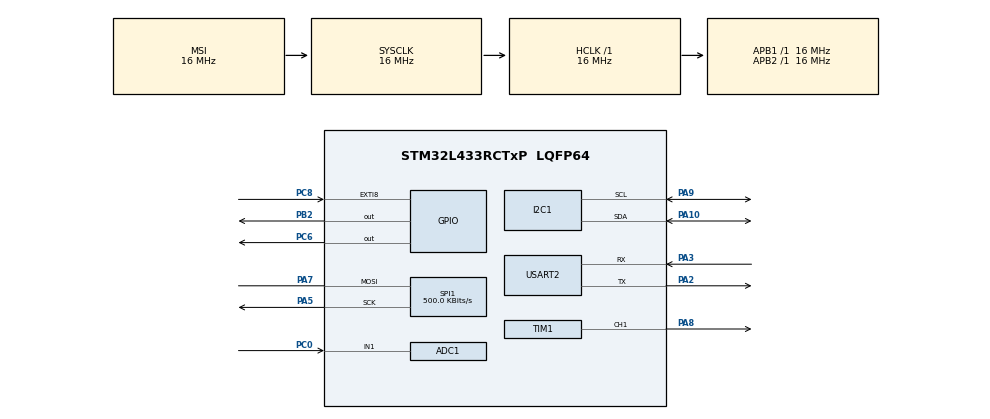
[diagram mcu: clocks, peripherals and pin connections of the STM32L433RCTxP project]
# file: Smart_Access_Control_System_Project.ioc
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ADC1.Channel-0\#ChannelRegularConversion=ADC_CHANNEL_1
ADC1.ClockPrescaler=ADC_CLOCK_ASYNC_DIV2
ADC1.NbrOfConversionFlag=1
ADC1.OffsetNumber-0\#ChannelRegularConversion=ADC_OFFSET_NONE
ADC1.Rank-0\#ChannelRegularConversion=1
ADC1.SamplingTime-0\#ChannelRegularConversion=ADC_SAMPLETIME_12CYCLES_5
ADC1.master=1
I2C1.I2C_Fall_Time=300
I2C1.I2C_Rise_Time=1000
I2C1.Timing=0x10911E24
Mcu.Family=STM32L4
Mcu.Name=STM32L433RCTxP
Mcu.Package=LQFP64
NVIC.EXTI9_5_IRQn=true\:0\:0\:false\:false\:true\:true\:true\:true
NVIC.PriorityGroup=NVIC_PRIORITYGROUP_4
PA10.Mode=I2C
PA10.Signal=I2C1_SDA
PA2.Mode=Asynchronous
PA2.Signal=USART2_TX
PA3.Mode=Asynchronous
PA3.Signal=USART2_RX
PA5.Mode=Simplex_Bidirectional_Master
PA5.Signal=SPI1_SCK
PA7.Mode=Simplex_Bidirectional_Master
PA7.Signal=SPI1_MOSI
PA8.Signal=S_TIM1_CH1
PA9.Mode=I2C
PA9.Signal=I2C1_SCL
PB2.Signal=GPIO_Output
PC0.Signal=ADCx_IN1
PC6.PinState=GPIO_PIN_SET
PC6.Signal=GPIO_Output
PC8.GPIO_ModeDefaultEXTI=GPIO_MODE_IT_FALLING
PC8.Signal=GPXTI8
ProjectManager.HeapSize=0x200
ProjectManager.StackSize=0x400
ProjectManager.TargetToolchain=STM32CubeIDE
RCC.ADCFreq_Value=64000000
RCC.AHBFreq_Value=16000000
RCC.APB1Freq_Value=16000000
RCC.APB1TimFreq_Value=16000000
RCC.APB2Freq_Value=16000000
RCC.APB2TimFreq_Value=16000000
RCC.CortexFreq_Value=16000000
RCC.FLatency-AdvancedSettings=FLASH_LATENCY_0
RCC.HCLKFreq_Value=16000000
RCC.HSE_VALUE=8000000
RCC.HSI48_VALUE=48000000
RCC.HSI_VALUE=16000000
RCC.LSE_VALUE=32768
RCC.MSIClockRange=RCC_MSIRANGE_8
RCC.MSI_VALUE=16000000
RCC.PLLN=16
RCC.SYSCLKFreq_VALUE=16000000
RCC.USBFreq_Value=64000000
RCC.VCOOutputFreq_Value=256000000
SH.ADCx_IN1.0=ADC1_IN1,IN1-Single-Ended
SH.S_TIM1_CH1.0=TIM1_CH1,PWM Generation1 CH1
SPI1.BaudRatePrescaler=SPI_BAUDRATEPRESCALER_32
SPI1.CLKPolarity=SPI_POLARITY_HIGH
SPI1.CalculateBaudRate=500.0 KBits/s
SPI1.DataSize=SPI_DATASIZE_16BIT
SPI1.Direction=SPI_DIRECTION_1LINE
SPI1.Mode=SPI_MODE_MASTER
SPI1.NSSPMode=SPI_NSS_PULSE_DISABLE
SPI1.VirtualType=VM_MASTER
TIM1.AutoReloadPreload=TIM_AUTORELOAD_PRELOAD_ENABLE
TIM1.Channel-PWM\ Generation1\ CH1=TIM_CHANNEL_1
TIM1.Period=19999
TIM1.Prescaler=15
USART2.VirtualMode-Asynchronous=VM_ASYNC
board=custom

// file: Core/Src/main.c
/* USER CODE BEGIN Header */
/**
  ******************************************************************************
  * @file           : main.c
  * @brief          : Main program body
  ******************************************************************************
  * @attention
  *
  * Copyright (c) 2025 STMicroelectronics.
  * All rights reserved.
  *
  * This software is licensed under terms that can be found in the LICENSE file
  * in the root directory of this software component.
  * If no LICENSE file comes with this software, it is provided AS-IS.
  *
  ******************************************************************************
  */
/* USER CODE END Header */
#include "main.h"

/* USER CODE BEGIN Includes */
#include "Fonts.h"
#include <stdio.h>
#include <string.h>
#include <math.h>
/* USER CODE END Includes */

ADC_HandleTypeDef hadc1;

I2C_HandleTypeDef hi2c1;

SPI_HandleTypeDef hspi1;

TIM_HandleTypeDef htim1;

UART_HandleTypeDef huart2;

void SystemClock_Config(void);
static void MX_GPIO_Init(void);
static void MX_SPI1_Init(void);
static void MX_USART2_UART_Init(void);
static void MX_ADC1_Init(void);
static void MX_I2C1_Init(void);
static void MX_TIM1_Init(void);

/* USER CODE BEGIN 0 */
int flag =0;
float data,R, temperature ;
uint16_t count,count1;
uint16_t data1;
char value[50];
char count2[50];
#define NUM_DEV 4
uint8_t bufferCol[NUM_DEV*8];

void max_write (int row, uint8_t data)
{
	int devTarget = (row - 1) / 8;  // find out which is the actual max, where we need to write the data
	int offset = devTarget * 8;  // The offset of the start byte for the devTarget in the buffer
	uint16_t writeData = 0;

	HAL_GPIO_WritePin(GPIOC, GPIO_PIN_6, 0);  // Select the slave
	for (int dev = 0; dev < NUM_DEV; dev++)   // for loop for all the max connected
	{
		if (dev == devTarget)  // if this the target
		{
			writeData = ((row - offset)<<8)|data;  // send the column number and the data byte
			HAL_SPI_Transmit(&hspi1, (uint8_t *)&writeData, 1, 1000);
		}
		else
		{
			writeData = 0;  // else send NOOP
			HAL_SPI_Transmit(&hspi1, (uint8_t *)&writeData, 1, 1000);
		}
	}
	HAL_GPIO_WritePin(GPIOC, GPIO_PIN_6, 1);  // disable the slave
}

void flushBuffer (void)
{
	uint8_t bufferRow[NUM_DEV*8] = {0};  // buffer to store data column wise

	/* Convert Cols to Rows */
	for (int i=0; i<NUM_DEV*8; i++)  // for loop for all the bytes
	{
		int dev = i/8;  // 0,1,2,3..  // keep track of which max is being written
		for (int j=0; j<8; j++)  // for loop to extract bits
		{
			if ((bufferCol[i])&(1<<(j)))  // if the bit is 1 // start extracting from the 0th bit of C0
			{
				bufferRow[j+(8*dev)] |= (1<<(7-(i-(8*dev))));  // start writing it from the 7th bit of R0
			}
		}
	}

	for (int row=1; row<=(NUM_DEV*8); row++)  // write the column data into the columns
	{
		max_write(row, bufferRow[row-1]);
	}
}

void max7219_cmd (uint8_t Addr, uint8_t data)
{

	uint16_t writeData = (Addr<<8)|data;
	HAL_GPIO_WritePin(GPIOC, GPIO_PIN_6, 0);
	for(int i=0 ;i<NUM_DEV ;i++)
	{
		HAL_SPI_Transmit(&hspi1, (uint8_t *)&writeData, 1, 100);
	}
	HAL_GPIO_WritePin(GPIOC, GPIO_PIN_6, 1);
}

void matrixInit (void)
{
	max7219_cmd(0x09, 0);  // no decoding
	max7219_cmd(0x0a, 0x01);  // 3/32 intensity
	max7219_cmd(0x0B, 0x07);  // scan all 7 columns
	max7219_cmd(0x0C, 0x01);  // normal operation
	max7219_cmd(0x0F, 0);     // No display test
}

void clearDisplay (void)
{
	for (int i=0; i<NUM_DEV*8-1; i++)
	{
		bufferCol[i] = 0;
	}
	flushBuffer();
}
void shiftLeft (void)
{
	for (int cnt=NUM_DEV*8-2; cnt>=0; cnt--)
	{
		bufferCol[cnt+1] = bufferCol[cnt];
	}
	bufferCol[0] = 0;
	flushBuffer();
}
void shiftchar (uint8_t ch, int delay)
{
	int indx=0;
	for (int i=0; i<FONT_WIDTH-1; i++)  // loop for all the bytes of the font
	{
		uint8_t data = 0;
/* Chnage the order of the bits */
		for (int j=7; j>=0; j--)  // extract bits from a single byte
		{
			if ((MAX7219_Dot_Matrix_font[ch][indx])&(1<<j))  // if the bit is 1 // start extracting from the 7th bit of byte
			{
				data |= (1<<(7-j));  // start writing it from the 0th bit of data
			}
		}
		bufferCol[0] = data;  // store the modified byte to the first element only. It will shift later
		flushBuffer();
		shiftLeft();
		indx++;
		HAL_Delay(delay);
	}
}
void scrollString (char *str, int delay)
{
	while (*str)
	{
		shiftchar(*str, delay);
		*str++;
	}
}
void printString (uint8_t *str)
{
	int strindx = 0;
	for (int k = NUM_DEV*8-1; k>=0; )
	{
		int indx=0;
		for (int i=0; i<FONT_WIDTH-1; i++)  // loop for all the bytes of the font
		{
			uint8_t data = 0;
			/* Chnage the order of the bits */
			for (int j=7; j>=0; j--)  // extract bits from a single byte
			{
				if ((MAX7219_Dot_Matrix_font[str[strindx]][indx])&(1<<j))  // if the bit is 1 // start extracting from the 7th bit of byte
				{
					data |= (1<<(7-j));  // start writing it from the 0th bit of data
				}
			}
			bufferCol[k--] = data;  // store the modified byte to the first element only. It will shift later
			indx++;
		}
		strindx++;
	}
	flushBuffer();
}
/* USER CODE END 0 */

int main(void)
{

  /* MCU Configuration--------------------------------------------------------*/

  /* Reset of all peripherals, Initializes the Flash interface and the Systick. */
  HAL_Init();

  /* Configure the system clock */
  SystemClock_Config();

  /* Initialize all configured peripherals */
  MX_GPIO_Init();
  MX_SPI1_Init();
  MX_USART2_UART_Init();
  MX_ADC1_Init();
  MX_I2C1_Init();
  MX_TIM1_Init();
  /* USER CODE BEGIN 2 */
  matrixInit();
  clearDisplay();
  HAL_I2C_Init(&hi2c1);
  HAL_TIM_PWM_Init(&htim1);
  TIM1->CCR1 =400;// 0 DEGREE
  HAL_TIM_PWM_Start(&htim1, TIM_CHANNEL_1);

  /* USER CODE END 2 */

  /* Infinite loop */
  /* USER CODE BEGIN WHILE */
  while (1)
  {

	  if( flag) // IR Value =1
	  {
		  flag =0;// clear flag
		  clearDisplay(); // clear display
		  HAL_ADC_Start(&hadc1);
		  HAL_ADC_PollForConversion(&hadc1, 20);
		  data = HAL_ADC_GetValue(&hadc1);
		  R = (4095.0 / data - 1.0) * 10000.0;
		  temperature = 1.0 / (log(R / 10000.0) / 3950.0 + 1.0 / (273.15 + 25.0)) - 273.15;
		  if(temperature >= 34.5 && temperature <= 37.5 ) // Normal Temperature
		  {

			  __HAL_TIM_SET_COMPARE(&htim1 ,TIM_CHANNEL_1 , 2600); // 180 DEGREE
			  sprintf(value," Welcome !!! Temperature:%.2f    ",temperature);
			  scrollString((uint8_t*)value, 15); // DISPLAY

			  count = count+1;// No of Person
			  HAL_I2C_Mem_Write(&hi2c1, 0xA0, 0, 2, &count, 2, 50);// Store The Data

		  }
		  else
		  {
			  sprintf(value," Check The Body Temperature: %.2f     ",temperature);
			  HAL_GPIO_WritePin(GPIOB, GPIO_PIN_2, 1); // BUZZER ALERT
			  scrollString((uint8_t*)value, 15); // DISPLAY
			  HAL_GPIO_WritePin(GPIOB, GPIO_PIN_2, 0); // OFF BUZZER
			  HAL_I2C_Mem_Read(&hi2c1, 0xA0, 0, 2, &count1, 2, 50); // READ DATA
			  sprintf(count2,"No of Person Entered %d\n",count1);
			  HAL_UART_Transmit(&huart2, count2, strlen(count2), HAL_MAX_DELAY);// DEBUG UART
		  }
	  }

	  	  __HAL_TIM_SET_COMPARE(&htim1, TIM_CHANNEL_1, 	500); // 0 DEGREE
		  scrollString((uint8_t*)" Access Denied     ", 15);
		  HAL_I2C_Mem_Read(&hi2c1, 0xA0, 0, 2, &count1, 2, 50);// READ DATA FIRST
		  count =count1;// ADD DATA
		  sprintf(count2,"No of Person Entered %d\n",count1);
		  HAL_UART_Transmit(&huart2, count2, strlen(count2), HAL_MAX_DELAY); // DEBUG UART

    /* USER CODE END WHILE */

  }
}

void SystemClock_Config(void)
{
  RCC_OscInitTypeDef RCC_OscInitStruct = {0};
  RCC_ClkInitTypeDef RCC_ClkInitStruct = {0};

  /** Configure the main internal regulator output voltage
  */
  if (HAL_PWREx_ControlVoltageScaling(PWR_REGULATOR_VOLTAGE_SCALE1) != HAL_OK)
  {
    Error_Handler();
  }

  /** Initializes the RCC Oscillators according to the specified parameters
  * in the RCC_OscInitTypeDef structure.
  */
  RCC_OscInitStruct.OscillatorType = RCC_OSCILLATORTYPE_MSI;
  RCC_OscInitStruct.MSIState = RCC_MSI_ON;
  RCC_OscInitStruct.MSICalibrationValue = 0;
  RCC_OscInitStruct.MSIClockRange = RCC_MSIRANGE_8;
  RCC_OscInitStruct.PLL.PLLState = RCC_PLL_NONE;
  if (HAL_RCC_OscConfig(&RCC_OscInitStruct) != HAL_OK)
  {
    Error_Handler();
  }

  /** Initializes the CPU, AHB and APB buses clocks
  */
  RCC_ClkInitStruct.ClockType = RCC_CLOCKTYPE_HCLK|RCC_CLOCKTYPE_SYSCLK
                              |RCC_CLOCKTYPE_PCLK1|RCC_CLOCKTYPE_PCLK2;
  RCC_ClkInitStruct.SYSCLKSource = RCC_SYSCLKSOURCE_MSI;
  RCC_ClkInitStruct.AHBCLKDivider = RCC_SYSCLK_DIV1;
  RCC_ClkInitStruct.APB1CLKDivider = RCC_HCLK_DIV1;
  RCC_ClkInitStruct.APB2CLKDivider = RCC_HCLK_DIV1;

  if (HAL_RCC_ClockConfig(&RCC_ClkInitStruct, FLASH_LATENCY_0) != HAL_OK)
  {
    Error_Handler();
  }
}

static void MX_ADC1_Init(void)
{

  ADC_ChannelConfTypeDef sConfig = {0};

  /** Common config
  */
  hadc1.Instance = ADC1;
  hadc1.Init.ClockPrescaler = ADC_CLOCK_ASYNC_DIV2;
  hadc1.Init.Resolution = ADC_RESOLUTION_12B;
  hadc1.Init.DataAlign = ADC_DATAALIGN_RIGHT;
  hadc1.Init.ScanConvMode = ADC_SCAN_DISABLE;
  hadc1.Init.EOCSelection = ADC_EOC_SINGLE_CONV;
  hadc1.Init.LowPowerAutoWait = DISABLE;
  hadc1.Init.ContinuousConvMode = DISABLE;
  hadc1.Init.NbrOfConversion = 1;
  hadc1.Init.DiscontinuousConvMode = DISABLE;
  hadc1.Init.ExternalTrigConv = ADC_SOFTWARE_START;
  hadc1.Init.ExternalTrigConvEdge = ADC_EXTERNALTRIGCONVEDGE_NONE;
  hadc1.Init.DMAContinuousRequests = DISABLE;
  hadc1.Init.Overrun = ADC_OVR_DATA_PRESERVED;
  hadc1.Init.OversamplingMode = DISABLE;
  if (HAL_ADC_Init(&hadc1) != HAL_OK)
  {
    Error_Handler();
  }

  /** Configure Regular Channel
  */
  sConfig.Channel = ADC_CHANNEL_1;
  sConfig.Rank = ADC_REGULAR_RANK_1;
  sConfig.SamplingTime = ADC_SAMPLETIME_12CYCLES_5;
  sConfig.SingleDiff = ADC_SINGLE_ENDED;
  sConfig.OffsetNumber = ADC_OFFSET_NONE;
  sConfig.Offset = 0;
  if (HAL_ADC_ConfigChannel(&hadc1, &sConfig) != HAL_OK)
  {
    Error_Handler();
  }

}

static void MX_I2C1_Init(void)
{

  hi2c1.Instance = I2C1;
  hi2c1.Init.Timing = 0x10911E24;
  hi2c1.Init.OwnAddress1 = 0;
  hi2c1.Init.AddressingMode = I2C_ADDRESSINGMODE_7BIT;
  hi2c1.Init.DualAddressMode = I2C_DUALADDRESS_DISABLE;
  hi2c1.Init.OwnAddress2 = 0;
  hi2c1.Init.OwnAddress2Masks = I2C_OA2_NOMASK;
  hi2c1.Init.GeneralCallMode = I2C_GENERALCALL_DISABLE;
  hi2c1.Init.NoStretchMode = I2C_NOSTRETCH_DISABLE;
  if (HAL_I2C_Init(&hi2c1) != HAL_OK)
  {
    Error_Handler();
  }

  /** Configure Analogue filter
  */
  if (HAL_I2CEx_ConfigAnalogFilter(&hi2c1, I2C_ANALOGFILTER_ENABLE) != HAL_OK)
  {
    Error_Handler();
  }

  /** Configure Digital filter
  */
  if (HAL_I2CEx_ConfigDigitalFilter(&hi2c1, 0) != HAL_OK)
  {
    Error_Handler();
  }

}

static void MX_SPI1_Init(void)
{

  /* SPI1 parameter configuration*/
  hspi1.Instance = SPI1;
  hspi1.Init.Mode = SPI_MODE_MASTER;
  hspi1.Init.Direction = SPI_DIRECTION_1LINE;
  hspi1.Init.DataSize = SPI_DATASIZE_16BIT;
  hspi1.Init.CLKPolarity = SPI_POLARITY_HIGH;
  hspi1.Init.CLKPhase = SPI_PHASE_1EDGE;
  hspi1.Init.NSS = SPI_NSS_SOFT;
  hspi1.Init.BaudRatePrescaler = SPI_BAUDRATEPRESCALER_32;
  hspi1.Init.FirstBit = SPI_FIRSTBIT_MSB;
  hspi1.Init.TIMode = SPI_TIMODE_DISABLE;
  hspi1.Init.CRCCalculation = SPI_CRCCALCULATION_DISABLE;
  hspi1.Init.CRCPolynomial = 7;
  hspi1.Init.CRCLength = SPI_CRC_LENGTH_DATASIZE;
  hspi1.Init.NSSPMode = SPI_NSS_PULSE_DISABLE;
  if (HAL_SPI_Init(&hspi1) != HAL_OK)
  {
    Error_Handler();
  }

}

static void MX_TIM1_Init(void)
{

  TIM_MasterConfigTypeDef sMasterConfig = {0};
  TIM_OC_InitTypeDef sConfigOC = {0};
  TIM_BreakDeadTimeConfigTypeDef sBreakDeadTimeConfig = {0};

  htim1.Instance = TIM1;
  htim1.Init.Prescaler = 15;
  htim1.Init.CounterMode = TIM_COUNTERMODE_UP;
  htim1.Init.Period = 19999;
  htim1.Init.ClockDivision = TIM_CLOCKDIVISION_DIV1;
  htim1.Init.RepetitionCounter = 0;
  htim1.Init.AutoReloadPreload = TIM_AUTORELOAD_PRELOAD_ENABLE;
  if (HAL_TIM_PWM_Init(&htim1) != HAL_OK)
  {
    Error_Handler();
  }
  sMasterConfig.MasterOutputTrigger = TIM_TRGO_RESET;
  sMasterConfig.MasterOutputTrigger2 = TIM_TRGO2_RESET;
  sMasterConfig.MasterSlaveMode = TIM_MASTERSLAVEMODE_DISABLE;
  if (HAL_TIMEx_MasterConfigSynchronization(&htim1, &sMasterConfig) != HAL_OK)
  {
    Error_Handler();
  }
  sConfigOC.OCMode = TIM_OCMODE_PWM1;
  sConfigOC.Pulse = 0;
  sConfigOC.OCPolarity = TIM_OCPOLARITY_HIGH;
  sConfigOC.OCNPolarity = TIM_OCNPOLARITY_HIGH;
  sConfigOC.OCFastMode = TIM_OCFAST_DISABLE;
  sConfigOC.OCIdleState = TIM_OCIDLESTATE_RESET;
  sConfigOC.OCNIdleState = TIM_OCNIDLESTATE_RESET;
  if (HAL_TIM_PWM_ConfigChannel(&htim1, &sConfigOC, TIM_CHANNEL_1) != HAL_OK)
  {
    Error_Handler();
  }
  sBreakDeadTimeConfig.OffStateRunMode = TIM_OSSR_DISABLE;
  sBreakDeadTimeConfig.OffStateIDLEMode = TIM_OSSI_DISABLE;
  sBreakDeadTimeConfig.LockLevel = TIM_LOCKLEVEL_OFF;
  sBreakDeadTimeConfig.DeadTime = 0;
  sBreakDeadTimeConfig.BreakState = TIM_BREAK_DISABLE;
  sBreakDeadTimeConfig.BreakPolarity = TIM_BREAKPOLARITY_HIGH;
  sBreakDeadTimeConfig.BreakFilter = 0;
  sBreakDeadTimeConfig.Break2State = TIM_BREAK2_DISABLE;
  sBreakDeadTimeConfig.Break2Polarity = TIM_BREAK2POLARITY_HIGH;
  sBreakDeadTimeConfig.Break2Filter = 0;
  sBreakDeadTimeConfig.AutomaticOutput = TIM_AUTOMATICOUTPUT_DISABLE;
  if (HAL_TIMEx_ConfigBreakDeadTime(&htim1, &sBreakDeadTimeConfig) != HAL_OK)
  {
    Error_Handler();
  }
  HAL_TIM_MspPostInit(&htim1);

}

static void MX_USART2_UART_Init(void)
{

  huart2.Instance = USART2;
  huart2.Init.BaudRate = 115200;
  huart2.Init.WordLength = UART_WORDLENGTH_8B;
  huart2.Init.StopBits = UART_STOPBITS_1;
  huart2.Init.Parity = UART_PARITY_NONE;
  huart2.Init.Mode = UART_MODE_TX_RX;
  huart2.Init.HwFlowCtl = UART_HWCONTROL_NONE;
  huart2.Init.OverSampling = UART_OVERSAMPLING_16;
  huart2.Init.OneBitSampling = UART_ONE_BIT_SAMPLE_DISABLE;
  huart2.AdvancedInit.AdvFeatureInit = UART_ADVFEATURE_NO_INIT;
  if (HAL_UART_Init(&huart2) != HAL_OK)
  {
    Error_Handler();
  }

}

static void MX_GPIO_Init(void)
{
  GPIO_InitTypeDef GPIO_InitStruct = {0};

  /* GPIO Ports Clock Enable */
  __HAL_RCC_GPIOC_CLK_ENABLE();
  __HAL_RCC_GPIOA_CLK_ENABLE();
  __HAL_RCC_GPIOB_CLK_ENABLE();

  /*Configure GPIO pin Output Level */
  HAL_GPIO_WritePin(GPIOB, GPIO_PIN_2, GPIO_PIN_RESET);

  /*Configure GPIO pin Output Level */
  HAL_GPIO_WritePin(GPIOC, GPIO_PIN_6, GPIO_PIN_SET);

  /*Configure GPIO pin : PB2 */
  GPIO_InitStruct.Pin = GPIO_PIN_2;
  GPIO_InitStruct.Mode = GPIO_MODE_OUTPUT_PP;
  GPIO_InitStruct.Pull = GPIO_NOPULL;
  GPIO_InitStruct.Speed = GPIO_SPEED_FREQ_LOW;
  HAL_GPIO_Init(GPIOB, &GPIO_InitStruct);

  /*Configure GPIO pin : PC6 */
  GPIO_InitStruct.Pin = GPIO_PIN_6;
  GPIO_InitStruct.Mode = GPIO_MODE_OUTPUT_PP;
  GPIO_InitStruct.Pull = GPIO_NOPULL;
  GPIO_InitStruct.Speed = GPIO_SPEED_FREQ_LOW;
  HAL_GPIO_Init(GPIOC, &GPIO_InitStruct);

  /*Configure GPIO pin : PC8 */
  GPIO_InitStruct.Pin = GPIO_PIN_8;
  GPIO_InitStruct.Mode = GPIO_MODE_IT_FALLING;
  GPIO_InitStruct.Pull = GPIO_NOPULL;
  HAL_GPIO_Init(GPIOC, &GPIO_InitStruct);

  /* EXTI interrupt init*/
  HAL_NVIC_SetPriority(EXTI9_5_IRQn, 0, 0);
  HAL_NVIC_EnableIRQ(EXTI9_5_IRQn);

}

/* USER CODE BEGIN 4 */
void HAL_GPIO_EXTI_Callback(uint16_t GPIO_Pin)
{
	if(GPIO_Pin == GPIO_PIN_8)// verify the pin) IR SENSOR
	{
		flag =1; // SET THE FLAG
	}
}
/* USER CODE END 4 */

void Error_Handler(void)
{
  __disable_irq();
  while (1)
  {
  }
}
